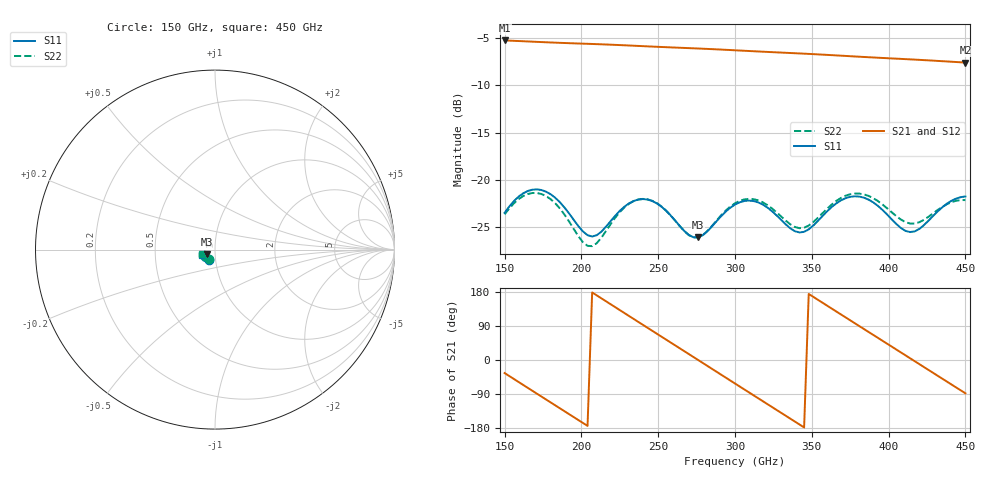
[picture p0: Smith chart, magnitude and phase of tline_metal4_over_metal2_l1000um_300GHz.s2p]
#  GHZ S DB R 50
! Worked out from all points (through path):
!   101 points, 150 GHz to 450 GHz, reference 50 ohm
!   highest |S21| = -5.27 dB at 150 GHz (marker M1); lowest = -7.6 dB at 450 GHz (marker M2)
!   group delay of S21, straight-line fit = 7.16 ps
!   lowest |S11| = -26.1 dB at 276 GHz (marker M3), VSWR 1.10, Z = 45.8 - j2.32 ohm
!   |S11| at or under -10 dB: start of sweep to end of sweep
!   |S22| runs from -27.0 to -21.4 dB; largest |S21 - S12| = 6.2e-14
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150  -23.47 -120.7  -5.27 -34.4  -5.27 -34.4  -23.64 -123.3
162  -21.42 -130.0  -5.35 -65.5  -5.35 -65.5  -21.71 -132.5
174  -21.07 -145.2  -5.44 -96.5  -5.44 -96.5  -21.49 -147.6
186  -22.36 -158.1  -5.52 -127.5  -5.52 -127.5  -23.02 -160.4
201  -25.44 -156.6  -5.61 -166.2  -5.61 -166.2  -26.58 -155.5
216  -24.94 -136.8  -5.70 155.0  -5.70 155.0  -25.40 -131.2
231  -22.48 -140.8  -5.80 116.2  -5.80 116.2  -22.51 -137.0
252  -22.81 -160.9  -5.96 61.9  -5.96 61.9  -22.78 -158.6
264  -24.86 -163.3  -6.04 31.0  -6.04 31.0  -24.87 -161.3
276  -26.07 -149.6  -6.12 -0.0  -6.12 -0.0  -26.07 -147.3
288  -24.36 -139.3  -6.21 -31.0  -6.21 -31.0  -24.28 -136.9
300  -22.60 -144.3  -6.31 -62.0  -6.31 -62.0  -22.46 -142.1
321  -22.91 -162.0  -6.48 -116.1  -6.48 -116.1  -22.64 -159.9
336  -25.11 -160.8  -6.60 -154.8  -6.60 -154.8  -24.68 -159.5
351  -24.82 -144.3  -6.72 166.5  -6.72 166.5  -24.45 -144.5
366  -22.47 -145.2  -6.85 127.9  -6.85 127.9  -22.21 -145.2
378  -21.73 -155.3  -6.96 97.0  -6.96 97.0  -21.44 -154.9
390  -22.37 -165.5  -7.07 66.2  -7.07 66.2  -21.93 -164.9
402  -24.16 -168.5  -7.17 35.4  -7.17 35.4  -23.41 -168.8
423  -24.78 -147.5  -7.35 -18.6  -7.35 -18.6  -24.21 -154.3
438  -22.50 -147.5  -7.49 -57.1  -7.49 -57.1  -22.56 -154.7
450  -21.75 -156.3  -7.61 -87.9  -7.61 -87.9  -22.13 -163.0
